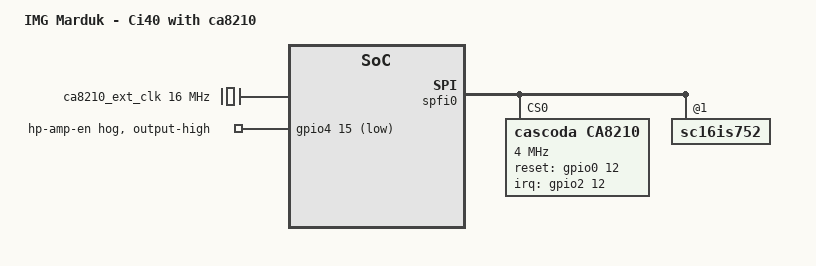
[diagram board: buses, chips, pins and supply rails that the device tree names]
/*
 * Copyright (C) 2016 Imagination Technologies Ltd.
 *
 * This program is free software; you can redistribute it and/or modify
 * it under the terms of the GNU General Public License version 2 as
 * published by the Free Software Foundation.
 */

/dts-v1/;

#include "pistachio_marduk_common.dtsi"

/ {
	model = "IMG Marduk - Ci40 with ca8210";

	/* EXT clock from ca8210 is fed to sc16is752 */
	ca8210_ext_clk: ca8210-ext-clk {
		compatible = "fixed-clock";
		#clock-cells = <0>;
		clock-frequency = <16000000>;
		clock-output-names = "ca8210_ext_clock";
	};

	pistachio_audio_card {
		img,i2s-clk-loopback;

		i2s-out {
			continuous-clock;
		};
	};
};

&spfi0 {
	ca8210: ca8210@0 {
		status = "okay";
		compatible = "cascoda,ca8210";
		reg = <0>;
		spi-max-frequency = <4000000>;
		spi-cpol;
		reset-gpio = <&gpio0 12 GPIO_ACTIVE_HIGH>;
		irq-gpio = <&gpio2 12 GPIO_ACTIVE_HIGH>;
		extclock-enable;
		extclock-freq = <16000000>;
		extclock-gpio = <2>;
	};

	sc16is752: sc16is752@1 {
		clocks = <&ca8210_ext_clk>;
	};
};

&switch1 {
	gpios = <&gpio3 6 GPIO_ACTIVE_LOW>;
};

&gpio4 {
	hp_amp_en {
		gpio-hog;
		gpios = <15 GPIO_ACTIVE_LOW>;
		output-high;
		line-name = "hp-amp-en";
	};
};
